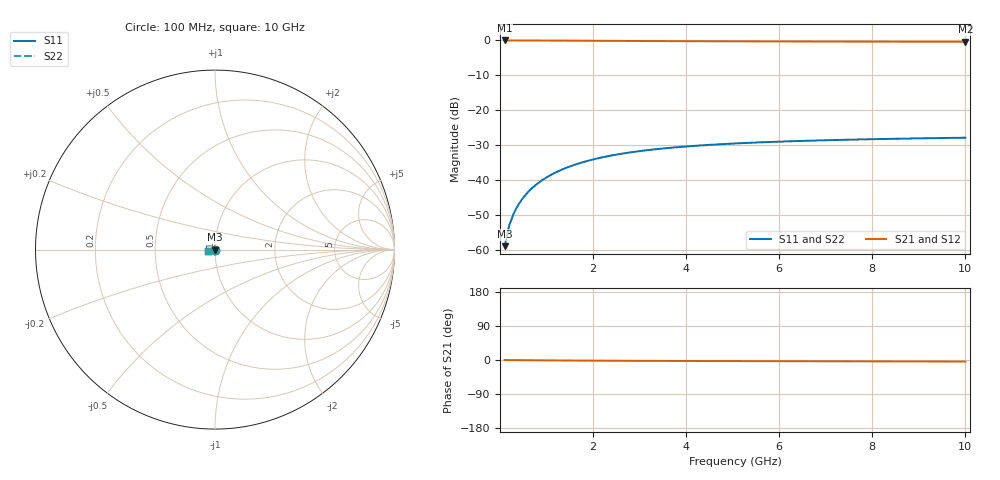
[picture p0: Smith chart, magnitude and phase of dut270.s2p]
! Touchstone file exported from HFSS 2024.1.0
!  File:  C:/UserFiles/LocalFiles/RDL_TSV_Batchsim/temp_TSV1_270_1778769874.aedt
!  Generated:  10:49:14 PM May 14, 2026
!  Design:  TSV1
!  Project:  temp_TSV1_270_1778769874
!  Setup:  Setup1
!  Solution:  Sweep
! Variables:
!  dtsv = 11.87um
!  hbump = 3um
!  htsv = 61.66um
!  lrdl = 252.1521522um
!  p = 40
!  p1 = 49.08um
!  t = 500um
!  trdl = 3um
!  wrdl = 24.89489489um
# GHz S MA R 50.000000
! Terminal data exported
! Port[1] = TSV22_T1
! Port[2] = TSV22_T2
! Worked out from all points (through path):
!   100 points, 100 MHz to 10 GHz, reference 50 ohm
!   highest |S21| = 0.00 dB at 100 MHz (marker M1); lowest = -0.4 dB at 10 GHz (marker M2)
!   lowest |S11| = -59.0 dB at 100 MHz (marker M3), VSWR 1.00, Z = 50 - j0.112 ohm
!   |S11| at or under -10 dB: start of sweep to end of sweep
!   |S22| runs from -59.0 to -27.9 dB; largest |S21 - S12| = 1e-14
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0.1  0.00112 -87.2  0.9999 -0.1  0.9999 -0.1  0.00112 -87.2
! Gamma 0 0 0 0
! Port Impedance 50 0 50 0
0.2  0.002235 -91.0  0.9998 -0.2  0.9998 -0.2  0.002235 -91.0
0.3  0.00335 -93.4  0.9996 -0.3  0.9996 -0.3  0.00335 -93.4
0.4  0.004461 -95.5  0.9993 -0.4  0.9993 -0.4  0.004461 -95.5
0.5  0.005564 -97.4  0.999 -0.5  0.999 -0.5  0.005564 -97.4
0.6  0.006654 -99.3  0.9986 -0.6  0.9986 -0.6  0.006654 -99.3
0.7  0.00773 -101.1  0.9982 -0.7  0.9982 -0.7  0.00773 -101.1
0.8  0.008787 -102.8  0.9977 -0.8  0.9977 -0.8  0.008787 -102.8
0.9  0.009826 -104.6  0.9972 -0.9  0.9972 -0.9  0.009826 -104.6
1.1  0.01184 -107.9  0.996 -1.1  0.996 -1.1  0.01184 -107.9
1.4  0.01467 -112.7  0.994 -1.3  0.994 -1.3  0.01467 -112.7
1.6  0.01643 -115.7  0.9926 -1.5  0.9926 -1.5  0.01643 -115.7
1.8  0.01807 -118.5  0.9911 -1.6  0.9911 -1.6  0.01807 -118.5
2.1  0.02035 -122.6  0.9888 -1.8  0.9888 -1.8  0.02035 -122.6
2.5  0.02302 -127.5  0.9857 -2.0  0.9857 -2.0  0.02302 -127.5
2.9  0.02532 -132.0  0.9828 -2.2  0.9828 -2.2  0.02532 -132.0
3.4  0.02775 -137.0  0.9795 -2.4  0.9795 -2.4  0.02775 -137.0
4.2  0.03082 -143.8  0.9749 -2.7  0.9749 -2.7  0.03082 -143.8
5.1  0.0334 -150.1  0.9707 -2.9  0.9707 -2.9  0.0334 -150.1
6.7  0.03656 -159.0  0.9654 -3.3  0.9654 -3.3  0.03656 -159.0
8.4  0.03877 -166.3  0.9616 -3.7  0.9616 -3.7  0.03877 -166.3
10  0.04027 -172.0  0.9591 -4.1  0.9591 -4.1  0.04027 -172.0
